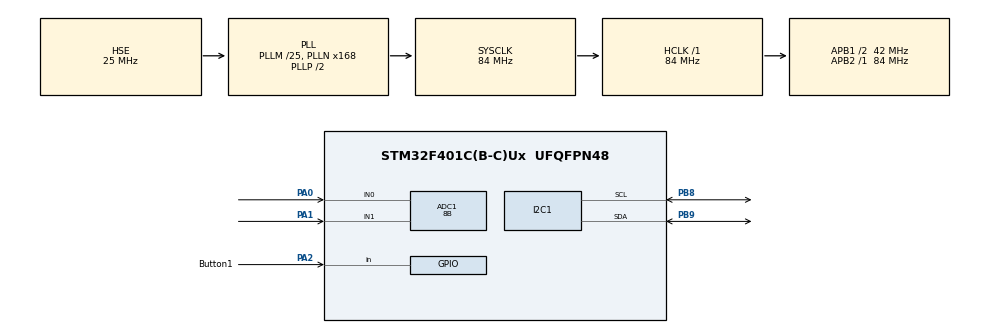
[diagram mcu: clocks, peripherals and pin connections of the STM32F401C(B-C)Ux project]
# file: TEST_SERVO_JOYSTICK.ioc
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Mcu.Family=STM32F4
RCC.PLLSourceVirtual=RCC_PLLSOURCE_HSE
PA2.GPIO_PuPd=GPIO_PULLUP
Dma.ADC1.0.Instance=DMA2_Stream0
RCC.CortexFreq_Value=84000000
ADC1.Rank-0\#ChannelRegularConversion=1
ADC1.ContinuousConvMode=ENABLE
PH1\ -\ OSC_OUT.Mode=HSE-External-Oscillator
RCC.APB1CLKDivider=RCC_HCLK_DIV2
RCC.SYSCLKSource=RCC_SYSCLKSOURCE_PLLCLK
ProjectManager.StackSize=0x400
PA0-WKUP.Signal=ADCx_IN0
PA13.Signal=SYS_JTMS-SWDIO
Dma.ADC1.0.PeriphDataAlignment=DMA_PDATAALIGN_WORD
PH0\ -\ OSC_IN.Mode=HSE-External-Oscillator
PH0\ -\ OSC_IN.Signal=RCC_OSC_IN
ProjectManager.TargetToolchain=STM32CubeIDE
Dma.ADC1.0.Mode=DMA_CIRCULAR
RCC.HCLKFreq_Value=84000000
ADC1.Resolution=ADC_RESOLUTION_8B
PB9.Mode=I2C
Dma.ADC1.0.Priority=DMA_PRIORITY_LOW
RCC.APB2TimFreq_Value=84000000
ADC1.Channel-1\#ChannelRegularConversion=ADC_CHANNEL_1
Dma.ADC1.0.Direction=DMA_PERIPH_TO_MEMORY
NVIC.DMA2_Stream0_IRQn=true\:0\:0\:false\:false\:true\:false\:true
RCC.LSE_VALUE=32768
Dma.ADC1.0.MemDataAlignment=DMA_MDATAALIGN_WORD
PA1.Signal=ADCx_IN1
RCC.AHBFreq_Value=84000000
ADC1.Channel-0\#ChannelRegularConversion=ADC_CHANNEL_0
RCC.HSE_VALUE=25000000
PH1\ -\ OSC_OUT.Signal=RCC_OSC_OUT
ADC1.ScanConvMode=ENABLE
board=custom
RCC.VCOOutputFreq_Value=168000000
RCC.APB2Freq_Value=84000000
PA14.Mode=Serial_Wire
Dma.ADC1.0.PeriphInc=DMA_PINC_DISABLE
SH.ADCx_IN0.0=ADC1_IN0,IN0
ADC1.DMAContinuousRequests=ENABLE
ADC1.NbrOfConversion=2
PA13.Mode=Serial_Wire
Mcu.Name=STM32F401C(B-C)Ux
ADC1.SamplingTime-0\#ChannelRegularConversion=ADC_SAMPLETIME_144CYCLES
PA2.Signal=GPIO_Input
RCC.48MHZClocksFreq_Value=42000000
ADC1.SamplingTime-1\#ChannelRegularConversion=ADC_SAMPLETIME_144CYCLES
RCC.SYSCLKFreq_VALUE=84000000
Mcu.Package=UFQFPN48
PB9.Signal=I2C1_SDA
ADC1.master=1
ADC1.Rank-1\#ChannelRegularConversion=2
PA2.GPIO_Label=Button1
PA14.Signal=SYS_JTCK-SWCLK
Dma.ADC1.0.MemInc=DMA_MINC_ENABLE
ProjectManager.HeapSize=0x200
RCC.HSI_VALUE=16000000
NVIC.PriorityGroup=NVIC_PRIORITYGROUP_4
ADC1.NbrOfConversionFlag=1
SH.ADCx_IN1.0=ADC1_IN1,IN1
RCC.PLLM=25
PB8.Mode=I2C
RCC.PLLN=168
RCC.APB1TimFreq_Value=84000000
PB8.Signal=I2C1_SCL
Dma.ADC1.0.FIFOMode=DMA_FIFOMODE_DISABLE
Dma.Request0=ADC1
RCC.APB1Freq_Value=42000000

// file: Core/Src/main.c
/* USER CODE BEGIN Header */
/**
  ******************************************************************************
  * @file           : main.c
  * @brief          : Main program body
  ******************************************************************************
  * @attention
  *
  * <h2><center>&copy; Copyright (c) 2023 STMicroelectronics.
  * All rights reserved.</center></h2>
  *
  * This software component is licensed by ST under BSD 3-Clause license,
  * the "License"; You may not use this file except in compliance with the
  * License. You may obtain a copy of the License at:
  *                        opensource.org/licenses/BSD-3-Clause
  *
  ******************************************************************************
  */
/* USER CODE END Header */
#include "main.h"
#include "adc.h"
#include "dma.h"
#include "i2c.h"
#include "gpio.h"

/* USER CODE BEGIN Includes */

	/* PCA */

		#include "pca9685.h"

/* USER CODE END Includes */

/* USER CODE BEGIN PM */

	/* ADC */

		int ADC_Read[2];
		int Button1 = 0;
		int Joystick_x = 0;
		int Joystick_y = 0;
		int Omega = 0;
		int State_button = 0;
		int Switch = 0;
		long last_time = 0, current_time = 0;;

		int i, x;

/* USER CODE END PM */

void SystemClock_Config(void);
/* USER CODE BEGIN PFP */

		/* MAP JOYSTICK */

			double map(double x, double in_min, double in_max, double out_min, double out_max) {
			  return (x - in_min) * (out_max - out_min) / (in_max - in_min) + out_min;
			}

		/* MAP JOYSTICK */

			void Joystick() {
				  if (ADC_Read[0] >= 0 && ADC_Read[0] <= 120){
					  Joystick_x = map(ADC_Read[0], 0, 120, 0, 90);
				  }
				  if (ADC_Read[0] >= 130 && ADC_Read[0] <= 255){
					  Joystick_x = map(ADC_Read[0], 130, 255, 90, 180);
				  }
				  if (ADC_Read[0] > 120 && ADC_Read[0] < 130){
					  Joystick_x = 90;
				  }

				  if (ADC_Read[1] >= 0 && ADC_Read[1] <= 120){
					  Joystick_y = map(ADC_Read[1], 0, 120, 0, 90);
				  }
				  if (ADC_Read[1] >= 130 && ADC_Read[1] <= 255){
					  Joystick_y = map(ADC_Read[1], 130, 255, 90, 180);
				  }
				  if (ADC_Read[1] > 120 && ADC_Read[1] < 130){
					  Joystick_y = 90;
				  }

				  if (Switch == 0){
					  Joystick_y = Joystick_y;
					  Omega = 128;
				  }
				  else {
					  Omega = Joystick_y;
					  Joystick_y = 128;
				  }
			}

/* USER CODE END PFP */

int main(void)
{

  /* MCU Configuration--------------------------------------------------------*/

  /* Reset of all peripherals, Initializes the Flash interface and the Systick. */
  HAL_Init();

  /* Configure the system clock */
  SystemClock_Config();

  /* Initialize all configured peripherals */
  MX_GPIO_Init();
  MX_DMA_Init();
  MX_ADC1_Init();
  MX_I2C1_Init();
  /* USER CODE BEGIN 2 */

	  /* ADC JOYSTICK */

		  HAL_ADC_Start_DMA(&hadc1, &ADC_Read[0], 2);

	  /* PCA9685 I2C SERVO */

		  PCA9685_Init(&hi2c1);

  /* USER CODE END 2 */

  /* Infinite loop */
  while (1)
  {

    /* USER CODE BEGIN 3 */

		  Button1 = HAL_GPIO_ReadPin(Button1_GPIO_Port, Button1_Pin);

		  if (Button1 == 0 && State_button == 0){
			  State_button = 1;
			  last_time = HAL_GetTick();
		  }
		  if (Button1 == 1 && State_button == 1){
			  State_button = 0;
			  current_time = HAL_GetTick();
		  }
		  if (current_time - last_time > 100){
			  last_time = current_time;
			  Switch = !Switch;
			  x++;
		  }
		  Joystick();

	  	  /* SERVO 1 */

				/* COUNT SERVO i++ */

				  if(Joystick_x > 90 ){
					  current_time=HAL_GetTick();
					  if (current_time - last_time > 10){
					  i++;
					  last_time = current_time;
				  }
					  while(i>180){
						  Joystick();
						  if(Joystick_x < 90){
							  break;
						  }
					  }

					  PCA9685_SetServoAngle(0, i);
				  }

			    /* COUNT SERVO i-- */

				  if(Joystick_x < 90 ){
					  current_time=HAL_GetTick();
					  if (current_time - last_time > 10){
					  i--;
					  last_time = current_time;
				  }
					  while(i<0){
						  Joystick();
						  if(Joystick_x > 90){
							  break;
						  }
					  }

					  PCA9685_SetServoAngle(0, i);

				  }

		 /* SERVO 2 */

			  /* COUNT SERVO i++ */

				  if(Joystick_y > 90 ){
						current_time=HAL_GetTick();
						if (current_time - last_time > 10){
						i++;
						last_time = current_time;
					 }
						while(i>180){
						Joystick();
						if(Joystick_y < 90){
							break;
						}
					}

						PCA9685_SetServoAngle(1, i);
				}

			   /* COUNT SERVO i-- */

				  if(Joystick_y < 90 ){
						current_time=HAL_GetTick();
						if (current_time - last_time > 10){
						i--;
						last_time = current_time;
					}
						while(i<0){
					    Joystick();
						if(Joystick_y > 90){
							break;
						}
					}

						PCA9685_SetServoAngle(1, i);

				}

  	  }
  }
  /* USER CODE END 3 */

void SystemClock_Config(void)
{
  RCC_OscInitTypeDef RCC_OscInitStruct = {0};
  RCC_ClkInitTypeDef RCC_ClkInitStruct = {0};

  /** Configure the main internal regulator output voltage
  */
  __HAL_RCC_PWR_CLK_ENABLE();
  __HAL_PWR_VOLTAGESCALING_CONFIG(PWR_REGULATOR_VOLTAGE_SCALE2);
  /** Initializes the RCC Oscillators according to the specified parameters
  * in the RCC_OscInitTypeDef structure.
  */
  RCC_OscInitStruct.OscillatorType = RCC_OSCILLATORTYPE_HSE;
  RCC_OscInitStruct.HSEState = RCC_HSE_ON;
  RCC_OscInitStruct.PLL.PLLState = RCC_PLL_ON;
  RCC_OscInitStruct.PLL.PLLSource = RCC_PLLSOURCE_HSE;
  RCC_OscInitStruct.PLL.PLLM = 25;
  RCC_OscInitStruct.PLL.PLLN = 168;
  RCC_OscInitStruct.PLL.PLLP = RCC_PLLP_DIV2;
  RCC_OscInitStruct.PLL.PLLQ = 4;
  if (HAL_RCC_OscConfig(&RCC_OscInitStruct) != HAL_OK)
  {
    Error_Handler();
  }
  /** Initializes the CPU, AHB and APB buses clocks
  */
  RCC_ClkInitStruct.ClockType = RCC_CLOCKTYPE_HCLK|RCC_CLOCKTYPE_SYSCLK
                              |RCC_CLOCKTYPE_PCLK1|RCC_CLOCKTYPE_PCLK2;
  RCC_ClkInitStruct.SYSCLKSource = RCC_SYSCLKSOURCE_PLLCLK;
  RCC_ClkInitStruct.AHBCLKDivider = RCC_SYSCLK_DIV1;
  RCC_ClkInitStruct.APB1CLKDivider = RCC_HCLK_DIV2;
  RCC_ClkInitStruct.APB2CLKDivider = RCC_HCLK_DIV1;

  if (HAL_RCC_ClockConfig(&RCC_ClkInitStruct, FLASH_LATENCY_2) != HAL_OK)
  {
    Error_Handler();
  }
}

void Error_Handler(void)
{
  __disable_irq();
  while (1)
  {
  }
}

/************************ (C) COPYRIGHT STMicroelectronics *****END OF FILE****/
